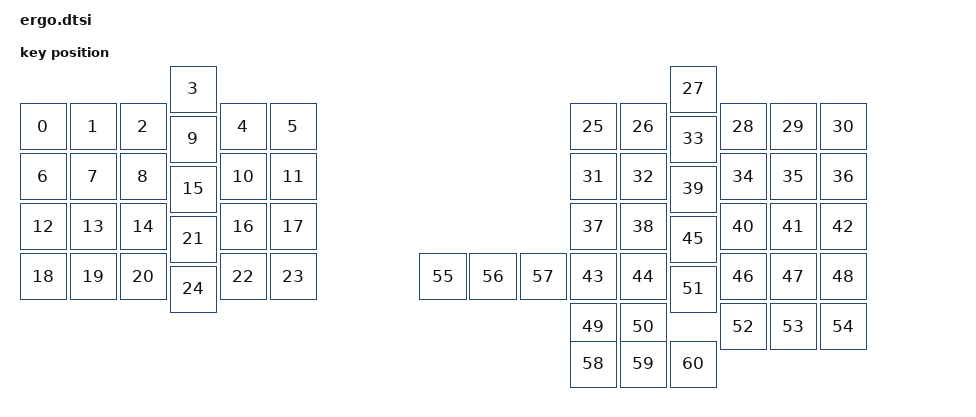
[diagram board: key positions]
/*
 * Physical layout for ZMK Studio - geometry from this board's KLE data.
 * 61 entries to match the matrix transform 1:1 (53 real keys + 8 phantom).
 * Positions are consumed in the SAME order as keymap binding positions 0..60.
 *
 * Phantom keys (the unpopulated right-hand matrix cells) are parked low/right
 * (y >= 4.75) so they sit apart from the real keys instead of stacking in a
 * corner.
 *
 * Coordinates affect ONLY the Studio picture, never scanning or the keymap.
 * If a right-hand key shows one cell off, nudge its x/y on that line - the
 * right half is row-major so a small mismatch is cosmetic and harmless.
 */

#include <physical_layouts.dtsi>

/ {
    ergo_physical_layout: ergo_physical_layout {
        compatible = "zmk,physical-layout";
        display-name = "Ergo";

        keys =
              <&key_physical_attrs 100 100    0   75 0 0 0>  /* L0 */
            , <&key_physical_attrs 100 100  100   75 0 0 0>  /* L1 */
            , <&key_physical_attrs 100 100  200   75 0 0 0>  /* L2 */
            , <&key_physical_attrs 100 100  300    0 0 0 0>  /* L3 */
            , <&key_physical_attrs 100 100  400   75 0 0 0>  /* L4 */
            , <&key_physical_attrs 100 100  500   75 0 0 0>  /* L5 */
            , <&key_physical_attrs 100 100    0  175 0 0 0>  /* L6 */
            , <&key_physical_attrs 100 100  100  175 0 0 0>  /* L7 */
            , <&key_physical_attrs 100 100  200  175 0 0 0>  /* L8 */
            , <&key_physical_attrs 100 100  300  100 0 0 0>  /* L9 */
            , <&key_physical_attrs 100 100  400  175 0 0 0>  /* L10 */
            , <&key_physical_attrs 100 100  500  175 0 0 0>  /* L11 */
            , <&key_physical_attrs 100 100    0  275 0 0 0>  /* L12 */
            , <&key_physical_attrs 100 100  100  275 0 0 0>  /* L13 */
            , <&key_physical_attrs 100 100  200  275 0 0 0>  /* L14 */
            , <&key_physical_attrs 100 100  300  200 0 0 0>  /* L15 */
            , <&key_physical_attrs 100 100  400  275 0 0 0>  /* L16 */
            , <&key_physical_attrs 100 100  500  275 0 0 0>  /* L17 */
            , <&key_physical_attrs 100 100    0  375 0 0 0>  /* L18 */
            , <&key_physical_attrs 100 100  100  375 0 0 0>  /* L19 */
            , <&key_physical_attrs 100 100  200  375 0 0 0>  /* L20 */
            , <&key_physical_attrs 100 100  300  300 0 0 0>  /* L21 */
            , <&key_physical_attrs 100 100  400  375 0 0 0>  /* L22 */
            , <&key_physical_attrs 100 100  500  375 0 0 0>  /* L23 */
            , <&key_physical_attrs 100 100  300  400 0 0 0>  /* L24 */
            , <&key_physical_attrs 100 100 1100   75 0 0 0>  /* R0 */
            , <&key_physical_attrs 100 100 1200   75 0 0 0>  /* R1 */
            , <&key_physical_attrs 100 100 1300    0 0 0 0>  /* R2 */
            , <&key_physical_attrs 100 100 1400   75 0 0 0>  /* R3 */
            , <&key_physical_attrs 100 100 1500   75 0 0 0>  /* R4 */
            , <&key_physical_attrs 100 100 1600   75 0 0 0>  /* R5 */
            , <&key_physical_attrs 100 100 1100  175 0 0 0>  /* R6 */
            , <&key_physical_attrs 100 100 1200  175 0 0 0>  /* R7 */
            , <&key_physical_attrs 100 100 1300  100 0 0 0>  /* R8 */
            , <&key_physical_attrs 100 100 1400  175 0 0 0>  /* R9 */
            , <&key_physical_attrs 100 100 1500  175 0 0 0>  /* R10 */
            , <&key_physical_attrs 100 100 1600  175 0 0 0>  /* R11 */
            , <&key_physical_attrs 100 100 1100  275 0 0 0>  /* R12 */
            , <&key_physical_attrs 100 100 1200  275 0 0 0>  /* R13 */
            , <&key_physical_attrs 100 100 1300  200 0 0 0>  /* R14 */
            , <&key_physical_attrs 100 100 1400  275 0 0 0>  /* R15 */
            , <&key_physical_attrs 100 100 1500  275 0 0 0>  /* R16 */
            , <&key_physical_attrs 100 100 1600  275 0 0 0>  /* R17 */
            , <&key_physical_attrs 100 100 1100  375 0 0 0>  /* R18 */
            , <&key_physical_attrs 100 100 1200  375 0 0 0>  /* R19 */
            , <&key_physical_attrs 100 100 1300  300 0 0 0>  /* R20 */
            , <&key_physical_attrs 100 100 1400  375 0 0 0>  /* R21 */
            , <&key_physical_attrs 100 100 1500  375 0 0 0>  /* R22 */
            , <&key_physical_attrs 100 100 1600  375 0 0 0>  /* R23 */
            , <&key_physical_attrs 100 100 1100  475 0 0 0>  /* R24 */
            , <&key_physical_attrs 100 100 1200  475 0 0 0>  /* R25 */
            , <&key_physical_attrs 100 100 1300  400 0 0 0>  /* R26 */
            , <&key_physical_attrs 100 100 1400  475 0 0 0>  /* R27 */
            , <&key_physical_attrs 100 100 1500  475 0 0 0>  /* R28 */
            , <&key_physical_attrs 100 100 1600  475 0 0 0>  /* R29 */
            , <&key_physical_attrs 100 100  800  375 0 0 0>  /* R30 */
            , <&key_physical_attrs 100 100  900  375 0 0 0>  /* R31 */
            , <&key_physical_attrs 100 100 1000  375 0 0 0>  /* R32 */
            , <&key_physical_attrs 100 100 1100  550 0 0 0>  /* R33 */
            , <&key_physical_attrs 100 100 1200  550 0 0 0>  /* R34 */
            , <&key_physical_attrs 100 100 1300  550 0 0 0>  /* R35 */
            ;
    };
};
